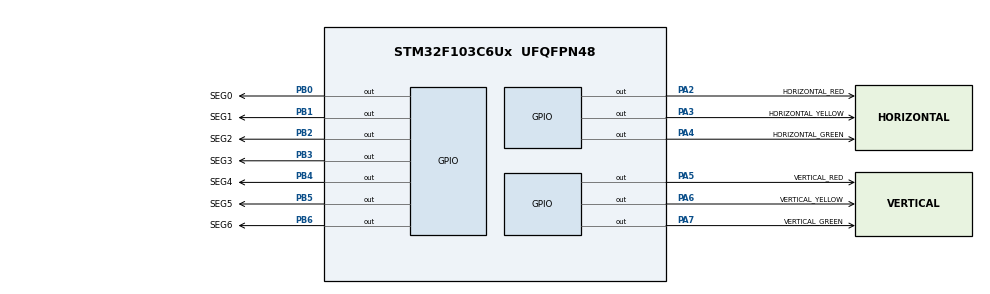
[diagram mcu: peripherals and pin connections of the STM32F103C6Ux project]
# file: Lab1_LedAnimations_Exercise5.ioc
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Mcu.Family=STM32F1
Mcu.Name=STM32F103C6Ux
Mcu.Package=UFQFPN48
NVIC.PriorityGroup=NVIC_PRIORITYGROUP_4
PA2.GPIO_Label=HORIZONTAL_RED
PA2.Signal=GPIO_Output
PA3.GPIO_Label=HORIZONTAL_YELLOW
PA3.Signal=GPIO_Output
PA4.GPIO_Label=HORIZONTAL_GREEN
PA4.Signal=GPIO_Output
PA5.GPIO_Label=VERTICAL_RED
PA5.Signal=GPIO_Output
PA6.GPIO_Label=VERTICAL_YELLOW
PA6.Signal=GPIO_Output
PA7.GPIO_Label=VERTICAL_GREEN
PA7.Signal=GPIO_Output
PB0.GPIO_Label=SEG0
PB0.Signal=GPIO_Output
PB1.GPIO_Label=SEG1
PB1.Signal=GPIO_Output
PB2.GPIO_Label=SEG2
PB2.Signal=GPIO_Output
PB3.GPIO_Label=SEG3
PB3.Signal=GPIO_Output
PB4.GPIO_Label=SEG4
PB4.Signal=GPIO_Output
PB5.GPIO_Label=SEG5
PB5.Signal=GPIO_Output
PB6.GPIO_Label=SEG6
PB6.Signal=GPIO_Output
ProjectManager.HeapSize=0x200
ProjectManager.StackSize=0x400
ProjectManager.TargetToolchain=STM32CubeIDE
RCC.APB1Freq_Value=8000000
RCC.APB2Freq_Value=8000000
VP_SYS_VS_ND.Mode=No_Debug
board=custom

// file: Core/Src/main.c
/* USER CODE BEGIN Header */
/**
  ******************************************************************************
  * @file           : main.c
  * @brief          : Main program body
  ******************************************************************************
  * @attention
  *
  * <h2><center>&copy; Copyright (c) 2022 STMicroelectronics.
  * All rights reserved.</center></h2>
  *
  * This software component is licensed by ST under BSD 3-Clause license,
  * the "License"; You may not use this file except in compliance with the
  * License. You may obtain a copy of the License at:
  *                        opensource.org/licenses/BSD-3-Clause
  *
  ******************************************************************************
  */
/* USER CODE END Header */
#include "main.h"

void SystemClock_Config(void);
static void MX_GPIO_Init(void);

/* USER CODE BEGIN 0 */
void display7SEG(int num){
	//outputs: SEG7 -> SEG0
	//outputs with value of 0 (RESET) will be turn on
	//outputs with value of 1 (SET) will be turn off
	if (num == 0){ //100 0000
		HAL_GPIO_WritePin(GPIOB, SEG0_Pin|SEG1_Pin|SEG2_Pin
								|SEG3_Pin|SEG4_Pin|SEG5_Pin, GPIO_PIN_RESET);
		HAL_GPIO_WritePin(GPIOB, SEG6_Pin, GPIO_PIN_SET);
	}
	else if (num == 1){ //111 1001
		HAL_GPIO_WritePin(GPIOB, SEG1_Pin|SEG2_Pin, GPIO_PIN_RESET);
		HAL_GPIO_WritePin(GPIOB, SEG0_Pin|SEG3_Pin|SEG4_Pin
								|SEG5_Pin|SEG6_Pin, GPIO_PIN_SET);
	}
	else if (num == 2){ //010 0100
		HAL_GPIO_WritePin(GPIOB, SEG0_Pin|SEG1_Pin|SEG3_Pin
								|SEG4_Pin|SEG6_Pin, GPIO_PIN_RESET);
		HAL_GPIO_WritePin(GPIOB, SEG2_Pin|SEG5_Pin, GPIO_PIN_SET);
	}
	else if (num == 3){ //011 0000
		HAL_GPIO_WritePin(GPIOB, SEG0_Pin|SEG1_Pin|SEG2_Pin
								|SEG3_Pin|SEG6_Pin, GPIO_PIN_RESET);
		HAL_GPIO_WritePin(GPIOB, SEG4_Pin|SEG5_Pin, GPIO_PIN_SET);
	}
	else if (num == 4){ //001 1001
		HAL_GPIO_WritePin(GPIOB, SEG1_Pin|SEG2_Pin|SEG5_Pin
								|SEG6_Pin, GPIO_PIN_RESET);
		HAL_GPIO_WritePin(GPIOB, SEG0_Pin|SEG3_Pin|SEG4_Pin, GPIO_PIN_SET);
	}
	else if (num == 5){ //001 0010
		HAL_GPIO_WritePin(GPIOB, SEG0_Pin|SEG2_Pin|SEG3_Pin
								|SEG5_Pin|SEG6_Pin, GPIO_PIN_RESET);
		HAL_GPIO_WritePin(GPIOB, SEG1_Pin|SEG4_Pin, GPIO_PIN_SET);
	}
	else if (num == 6){ //000 0010
		HAL_GPIO_WritePin(GPIOB, SEG0_Pin|SEG2_Pin|SEG3_Pin
								|SEG4_Pin|SEG5_Pin|SEG6_Pin, GPIO_PIN_RESET);
		HAL_GPIO_WritePin(GPIOB, SEG1_Pin, GPIO_PIN_SET);
	}
	else if (num == 7){ //111 1000
		HAL_GPIO_WritePin(GPIOB, SEG0_Pin|SEG1_Pin|SEG2_Pin, GPIO_PIN_RESET);
		HAL_GPIO_WritePin(GPIOB, SEG3_Pin|SEG4_Pin|SEG5_Pin
								|SEG6_Pin, GPIO_PIN_SET);
	}
	else if (num == 8){ //000 0000
		HAL_GPIO_WritePin(GPIOB, SEG0_Pin|SEG1_Pin|SEG2_Pin
								|SEG3_Pin|SEG4_Pin|SEG5_Pin
								|SEG6_Pin, GPIO_PIN_RESET);
	}
	else if (num == 9){ //001 0000
		HAL_GPIO_WritePin(GPIOB, SEG0_Pin|SEG1_Pin|SEG2_Pin
								|SEG3_Pin|SEG5_Pin|SEG6_Pin, GPIO_PIN_RESET);
		HAL_GPIO_WritePin(GPIOB, SEG4_Pin, GPIO_PIN_SET);
	}
}

void trafficLight(int *counter, int *state, GPIO_TypeDef* red, uint16_t redPin
									, GPIO_TypeDef* yellow, uint16_t yellowPin
									, GPIO_TypeDef* green, uint16_t greenPin)
{
	if (*state == 0){
		//turn red led on
		HAL_GPIO_WritePin(red, redPin, GPIO_PIN_SET);
		//switch to green led after 5 seconds
		if (*counter <= 0){
			*counter = 3; //3 seconds of green
			*state = 1;
			HAL_GPIO_WritePin(red, redPin, GPIO_PIN_RESET);
			HAL_GPIO_WritePin(green, greenPin, GPIO_PIN_SET);
		}
	}
	else if (*state == 1){
		//turn green led on
		HAL_GPIO_WritePin(green, greenPin, GPIO_PIN_SET);
		//switch to yellow led after 3 seconds
		if (*counter <= 0){
			*counter = 2; //2 seconds of yellow
			*state = 2;
			HAL_GPIO_WritePin(green, greenPin, GPIO_PIN_RESET);
			HAL_GPIO_WritePin(yellow, yellowPin, GPIO_PIN_SET);
		}
	}
	else if (*state == 2){
		//turn yellow led on
		HAL_GPIO_WritePin(yellow, yellowPin, GPIO_PIN_SET);
		//switch to red led after 2 seconds
		if (*counter <= 0){
			*counter = 5; //5 seconds of red
			*state = 0;
			HAL_GPIO_WritePin(yellow, yellowPin, GPIO_PIN_RESET);
			HAL_GPIO_WritePin(red, redPin, GPIO_PIN_SET);
		}
	}
}

/* USER CODE END 0 */

int main(void)
{

  /* MCU Configuration--------------------------------------------------------*/

  /* Reset of all peripherals, Initializes the Flash interface and the Systick. */
  HAL_Init();

  /* Configure the system clock */
  SystemClock_Config();

  /* Initialize all configured peripherals */
  MX_GPIO_Init();
  /* USER CODE BEGIN 2 */
  int horizontal_counter = 5;
  int horizontal_state = 0; //horizontal road starts with 5 seconds of red
  int vertical_counter = 3;
  int vertical_state = 1; //vertical road starts with 3 seconds of green
  /* USER CODE END 2 */

  /* Infinite loop */
  /* USER CODE BEGIN WHILE */
  while (1)
  {
	trafficLight(&horizontal_counter, &horizontal_state
								 , HORIZONTAL_RED_GPIO_Port, HORIZONTAL_RED_Pin
								 , HORIZONTAL_YELLOW_GPIO_Port, HORIZONTAL_YELLOW_Pin
								 , HORIZONTAL_GREEN_GPIO_Port, HORIZONTAL_GREEN_Pin);
	trafficLight(&vertical_counter, &vertical_state
								 , VERTICAL_RED_GPIO_Port, VERTICAL_RED_Pin
								 , VERTICAL_YELLOW_GPIO_Port, VERTICAL_YELLOW_Pin
								 , VERTICAL_GREEN_GPIO_Port, VERTICAL_GREEN_Pin);
	//display counter for horizontal road
	display7SEG(horizontal_counter);
	horizontal_counter--;
	vertical_counter--;
	HAL_Delay(1000);
    /* USER CODE END WHILE */

  }
}

void SystemClock_Config(void)
{
  RCC_OscInitTypeDef RCC_OscInitStruct = {0};
  RCC_ClkInitTypeDef RCC_ClkInitStruct = {0};

  /** Initializes the RCC Oscillators according to the specified parameters
  * in the RCC_OscInitTypeDef structure.
  */
  RCC_OscInitStruct.OscillatorType = RCC_OSCILLATORTYPE_HSI;
  RCC_OscInitStruct.HSIState = RCC_HSI_ON;
  RCC_OscInitStruct.HSICalibrationValue = RCC_HSICALIBRATION_DEFAULT;
  RCC_OscInitStruct.PLL.PLLState = RCC_PLL_NONE;
  if (HAL_RCC_OscConfig(&RCC_OscInitStruct) != HAL_OK)
  {
    Error_Handler();
  }
  /** Initializes the CPU, AHB and APB buses clocks
  */
  RCC_ClkInitStruct.ClockType = RCC_CLOCKTYPE_HCLK|RCC_CLOCKTYPE_SYSCLK
                              |RCC_CLOCKTYPE_PCLK1|RCC_CLOCKTYPE_PCLK2;
  RCC_ClkInitStruct.SYSCLKSource = RCC_SYSCLKSOURCE_HSI;
  RCC_ClkInitStruct.AHBCLKDivider = RCC_SYSCLK_DIV1;
  RCC_ClkInitStruct.APB1CLKDivider = RCC_HCLK_DIV1;
  RCC_ClkInitStruct.APB2CLKDivider = RCC_HCLK_DIV1;

  if (HAL_RCC_ClockConfig(&RCC_ClkInitStruct, FLASH_LATENCY_0) != HAL_OK)
  {
    Error_Handler();
  }
}

static void MX_GPIO_Init(void)
{
  GPIO_InitTypeDef GPIO_InitStruct = {0};

  /* GPIO Ports Clock Enable */
  __HAL_RCC_GPIOA_CLK_ENABLE();
  __HAL_RCC_GPIOB_CLK_ENABLE();

  /*Configure GPIO pin Output Level */
  HAL_GPIO_WritePin(GPIOA, HORIZONTAL_RED_Pin|HORIZONTAL_YELLOW_Pin|HORIZONTAL_GREEN_Pin|VERTICAL_RED_Pin
                          |VERTICAL_YELLOW_Pin|VERTICAL_GREEN_Pin, GPIO_PIN_RESET);

  /*Configure GPIO pin Output Level */
  HAL_GPIO_WritePin(GPIOB, SEG0_Pin|SEG1_Pin|SEG2_Pin|SEG3_Pin
                          |SEG4_Pin|SEG5_Pin|SEG6_Pin, GPIO_PIN_RESET);

  /*Configure GPIO pins : HORIZONTAL_RED_Pin HORIZONTAL_YELLOW_Pin HORIZONTAL_GREEN_Pin VERTICAL_RED_Pin
                           VERTICAL_YELLOW_Pin VERTICAL_GREEN_Pin */
  GPIO_InitStruct.Pin = HORIZONTAL_RED_Pin|HORIZONTAL_YELLOW_Pin|HORIZONTAL_GREEN_Pin|VERTICAL_RED_Pin
                          |VERTICAL_YELLOW_Pin|VERTICAL_GREEN_Pin;
  GPIO_InitStruct.Mode = GPIO_MODE_OUTPUT_PP;
  GPIO_InitStruct.Pull = GPIO_NOPULL;
  GPIO_InitStruct.Speed = GPIO_SPEED_FREQ_LOW;
  HAL_GPIO_Init(GPIOA, &GPIO_InitStruct);

  /*Configure GPIO pins : SEG0_Pin SEG1_Pin SEG2_Pin SEG3_Pin
                           SEG4_Pin SEG5_Pin SEG6_Pin */
  GPIO_InitStruct.Pin = SEG0_Pin|SEG1_Pin|SEG2_Pin|SEG3_Pin
                          |SEG4_Pin|SEG5_Pin|SEG6_Pin;
  GPIO_InitStruct.Mode = GPIO_MODE_OUTPUT_PP;
  GPIO_InitStruct.Pull = GPIO_NOPULL;
  GPIO_InitStruct.Speed = GPIO_SPEED_FREQ_LOW;
  HAL_GPIO_Init(GPIOB, &GPIO_InitStruct);

}

void Error_Handler(void)
{
  __disable_irq();
  while (1)
  {
  }
}

/************************ (C) COPYRIGHT STMicroelectronics *****END OF FILE****/
